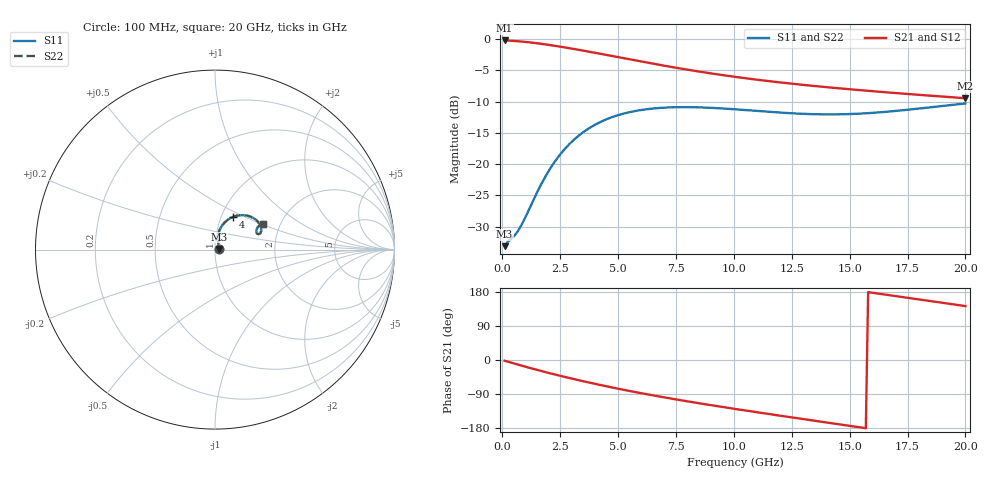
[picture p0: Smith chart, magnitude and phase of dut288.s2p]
! Touchstone file exported from HFSS 2024.1.0
!  File:  C:/UserFiles/LocalFiles/RDL_TSV_Batchsim/temp_RDL_TSV_288_1779466907.aedt
!  Generated:  12:35:36 AM May 23, 2026
!  Design:  RDL_TSV
!  Project:  temp_RDL_TSV_288_1779466907
!  Setup:  Setup1
!  Solution:  Sweep
! Variables:
!  dtsv = 9.07um
!  hbump = 3um
!  htsv = 57.59um
!  ldown = 373.28um
!  lrdl = 561.17um
!  p = 40
!  p1 = 49.89um
!  rhole = 10um
!  subl = 3364.52um
!  t = 450um
!  tdown = 2.51um
!  trdl = 2.36um
!  viad = 10um
!  wdown = 17.84um
!  wrdl = 27.32um
!  xbump = 18um
# GHz S MA R 50.000000
! Terminal data exported
! Port[1] = TM1_1_T1
! Port[2] = TM1_4_T1
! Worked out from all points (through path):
!   200 points, 100 MHz to 20 GHz, reference 50 ohm
!   highest |S21| = -0.19 dB at 100 MHz (marker M1); lowest = -9.4 dB at 20 GHz (marker M2)
!   group delay of S21, straight-line fit = 28.6 ps
!   lowest |S11| = -33.1 dB at 100 MHz (marker M3), VSWR 1.05, Z = 52.2 + j0.412 ohm
!   |S11| at or under -10 dB: start of sweep to end of sweep
!   |S22| runs from -33.1 to -10.3 dB; largest |S21 - S12| = 9.3e-15
!   S11 on the Smith chart (normalised r, x): 100 MHz: 1.04, +0.01; 4 GHz: 1.13, +0.43; 20 GHz: 1.64, +0.52
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0.1  0.02209 10.3  0.9779 -1.9  0.9779 -1.9  0.02209 10.3
! Gamma 0 0 0 0
! Port Impedance 50 0 50 0
0.6  0.02793 39.5  0.9665 -10.8  0.9665 -10.8  0.02799 39.6
0.8  0.0319 51.2  0.9598 -14.3  0.9598 -14.3  0.03196 51.3
1.3  0.04961 71.0  0.9389 -22.8  0.9389 -22.8  0.04963 71.0
1.8  0.07608 77.6  0.9132 -30.9  0.9132 -30.9  0.07608 77.6
2.2  0.1006 77.7  0.8904 -37.2  0.8904 -37.2  0.1006 77.7
2.6  0.1262 75.4  0.8664 -43.2  0.8664 -43.2  0.1262 75.4
3  0.1513 71.9  0.8418 -49.1  0.8418 -49.1  0.1513 71.9
3.5  0.1807 66.8  0.8106 -56.1  0.8106 -56.1  0.1807 66.8
4  0.2067 61.4  0.7796 -62.9  0.7796 -62.9  0.2067 61.4
4.6  0.2328 55.1  0.743 -70.7  0.743 -70.7  0.2327 55.0
5.2  0.253 49.1  0.7078 -78.2  0.7078 -78.2  0.253 49.1
6  0.2716 42.0  0.6637 -87.6  0.6637 -87.6  0.2716 42.0
6.8  0.2821 35.9  0.6234 -96.5  0.6234 -96.5  0.282 35.9
8.4  0.2855 26.8  0.5551 -113.1  0.5551 -113.1  0.2854 26.7
10.1  0.2747 21.2  0.4988 -129.5  0.4988 -129.5  0.2745 21.1
11.7  0.2611 19.5  0.458 -144.3  0.458 -144.3  0.2609 19.5
13.4  0.2515 20.9  0.4239 -159.5  0.4239 -159.5  0.2512 20.9
15  0.252 23.9  0.3979 -173.8  0.3979 -173.8  0.2516 23.9
16.7  0.2638 27.0  0.3746 171.2  0.3746 171.2  0.2634 27.0
18.4  0.2842 28.5  0.3544 156.2  0.3544 156.2  0.2838 28.5
20  0.3064 28.2  0.3374 142.2  0.3374 142.2  0.3059 28.2
